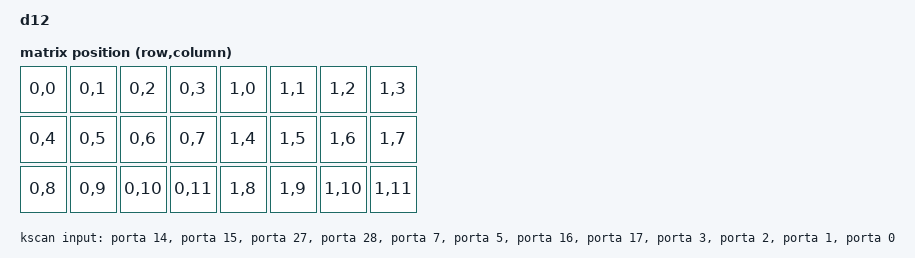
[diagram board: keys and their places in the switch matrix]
/*
 * Copyright (c) 2023 Pete Johanson
 *
 * SPDX-License-Identifier: Apache-2.0
 */

/dts-v1/;
#include <atmel/samd21.dtsi>
#include <atmel/samx2xx18.dtsi>
#include "d12-pinctrl.dtsi"
#include <dt-bindings/zmk/matrix_transform.h>

/ {
	model = "d12";
	compatible = "otterplex,d12";

	chosen {
		zephyr,sram = &sram0;
		zephyr,flash = &flash0;
		zephyr,code-partition = &code_partition;
		zmk,kscan = &kscan;//&kscan_matrix;
		zmk,matrix-transform = &default_transform;
		zmk,split-uart = &sercom0;
        zephyr,boot-mode = &boot_retention;
		zmk,magic-boot-mode = &magic_retention;
	};

        sram@20007FFC {
                compatible = "zephyr,memory-region", "mmio-sram";
                reg = <0x20007FFC 0x4>;
                zephyr,memory-region = "RetainedMem";
                status = "okay";

                retainedmem {
                        compatible = "zephyr,retained-ram";
                        status = "okay";
                        #address-cells = <1>;
                        #size-cells = <1>;

                        magic_retention: retention@0 {
                                compatible = "zephyr,retention";
                                status = "okay";
                                reg = <0x0 0x4>;
                        };
                };
        };

        magic_mapper {
                compatible = "zmk,bootmode-to-magic-mapper";
                status = "okay";

                #address-cells = <1>;
                #size-cells = <1>;

                boot_retention: retention@0 {
                        compatible = "zephyr,retention";
                        status = "okay";
                        reg = <0x0 0x1>;
                };
        };

	kscan: kscan {
		compatible = "zmk,kscan-gpio-direct";
		input-gpios
			= <&porta 14 (GPIO_ACTIVE_LOW | GPIO_PULL_UP)>
			, <&porta 15 (GPIO_ACTIVE_LOW | GPIO_PULL_UP)>
			, <&porta 27 (GPIO_ACTIVE_LOW | GPIO_PULL_UP)>
			, <&porta 28 (GPIO_ACTIVE_LOW | GPIO_PULL_UP)>
			, <&porta  7 (GPIO_ACTIVE_LOW | GPIO_PULL_UP)>
			, <&porta  5 (GPIO_ACTIVE_LOW | GPIO_PULL_UP)>
			, <&porta 16 (GPIO_ACTIVE_LOW | GPIO_PULL_UP)>
			, <&porta 17 (GPIO_ACTIVE_LOW | GPIO_PULL_UP)>
			, <&porta  3 (GPIO_ACTIVE_LOW | GPIO_PULL_UP)>
			, <&porta  2 (GPIO_ACTIVE_LOW | GPIO_PULL_UP)>
			, <&porta  1 (GPIO_ACTIVE_LOW | GPIO_PULL_UP)>
			, <&porta  0 (GPIO_ACTIVE_LOW | GPIO_PULL_UP)>
			;
	};

	default_transform: default_transform {
		compatible = "zmk,matrix-transform";
		columns = <12>;
		rows = <2>;
        map = <
		RC(0,0) RC(0,1) RC(0,2)  RC(0,3)  RC(1,0) RC(1,1) RC(1,2)  RC(1,3)
        RC(0,4) RC(0,5) RC(0,6)  RC(0,7)  RC(1,4) RC(1,5) RC(1,6)  RC(1,7)
        RC(0,8) RC(0,9) RC(0,10) RC(0,11) RC(1,8) RC(1,9) RC(1,10) RC(1,11)
		>;
	};

};

&cpu0 {
	clock-frequency = <48000000>;
};

zephyr_udc0: &usb0 {
	status = "okay";

	pinctrl-0 = <&usb_dc_default>;
	pinctrl-names = "default";
};

&sercom0 {
	status = "okay";
	compatible = "atmel,sam0-uart";

	pinctrl-0 = <&sercom0_uart_default>;
	pinctrl-names = "default";

	current-speed = <115200>;
	rxpo = <0>;
	txpo = <1>;
};

&flash0 {
	partitions {
		compatible = "fixed-partitions";
		#address-cells = <1>;
		#size-cells = <1>;

		boot_partition: partition@0 {
			reg = <0x00000000 DT_SIZE_K(8)>;
			read-only;
		};

		code_partition: partition@2000 {
			reg = <0x2000 DT_SIZE_K(256-8-16)>;
			read-only;
		};

		/*
		 * The final 16 KiB is reserved for the application.
		 * Storage partition may be used by FCB or LittleFS.
		 */
		storage_partition: partition@3c000 {
			reg = <0x0003c000 DT_SIZE_K(16)>;
		};
	};
};

&sram0 {
        reg = <0x20000000 0x7FFC>;
};
